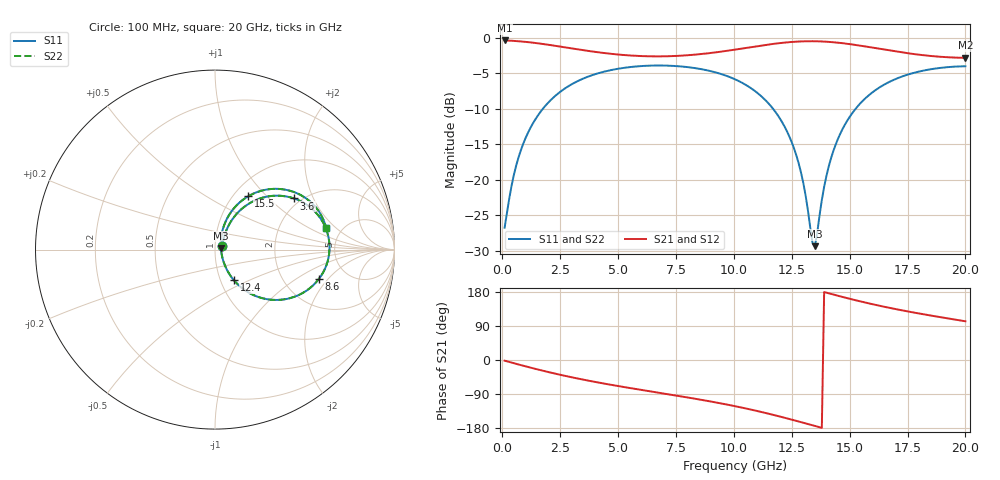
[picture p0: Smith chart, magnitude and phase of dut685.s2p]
! Touchstone file exported from HFSS 2026.1.0
!  File:  C:/ffzhzh/LocalFiles/Ansys_Project_Files/temp_train_TSV_RDL_685_1783134310_37876.aedt
!  Generated:  11:18:01 AM Jul  4, 2026
!  Design:  TSV_RDL
!  Project:  temp_train_TSV_RDL_685_1783134310_37876
! Variables:
!  h_bsmrdl = 2.05um
!  h_ox = 20um
!  h_rdl = 5um
!  h_sub = 96.05um
!  h_tmrdl = 2.45um
!  h_tsv = 96.05um
!  h_via = 3um
!  l_bsmrdl = 443.57um
!  l_sub = 4039.06um
!  l_tmrdl = 546.81um
!  m_sub = 200um
!  pitch = 53.27um
!  r_tsv = 3.2um
!  s_tmrdl = 10um
!  w_bsmrdl = 28.79um
!  w_sub = 500um
!  w_tmrdl = 11.58um
!  x_tsv_center1 = 552.6um
!  x_tsv_center2 = 1024.96um
!  x_tsv_center3 = 1583.35um
!  x_tsv_center4 = 2055.71um
!  x_tsv_center5 = 2614.1um
!  x_tsv_center6 = 3086.46um
# GHz S MA R 50.000000
! Terminal data exported
! Port[1] = TM_RDL1_1_T1
! Port[2] = TM_RDL5_1_T1
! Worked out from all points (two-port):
!   200 points, 100 MHz to 20 GHz, reference 50 ohm
!   highest |S21| = -0.37 dB at 100 MHz (marker M1); lowest = -2.8 dB at 20 GHz (marker M2)
!   |S21| within 3 dB of the highest: start of sweep to end of sweep
!   lowest |S11| = -29.4 dB at 13.5 GHz (marker M3), VSWR 1.07, Z = 53.4 + j0.975 ohm
!   |S11| at or under -10 dB: start of sweep to 1.754 GHz; 11.69 GHz to 15.26 GHz (3.567 GHz wide, 26.5 % of centre)
!   |S22| runs from -29.3 to -3.9 dB; largest |S21 - S12| = 1.6e-14
!   S11 on the Smith chart (normalised r, x): 100 MHz: 1.09, +0.04; 3.6 GHz: 1.84, +1.45; 8.6 GHz: 3.13, -1.60; 12.4 GHz: 1.16, -0.41; 15.5 GHz: 1.17, +0.79; 20 GHz: 3.77, +1.51
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0.1  0.04587 24.6  0.9587 -1.7  0.9587 -1.7  0.04587 24.6
! Gamma 0 0 0 0
! Port Impedance 50 0 50 0
0.6  0.1258 59.5  0.9494 -10.2  0.9494 -10.2  0.1258 59.5
1.2  0.2293 58.9  0.9297 -19.8  0.9297 -19.8  0.2293 58.9
2.2  0.3786 48.7  0.8835 -34.8  0.8835 -34.8  0.3786 48.7
3.5  0.5166 34.0  0.8185 -51.9  0.8185 -51.9  0.5166 34.0
3.6  0.5247 32.9  0.8139 -53.1  0.8139 -53.1  0.5247 32.9
5.2  0.6128 16.6  0.7579 -70.8  0.7579 -70.8  0.6127 16.6
6.8  0.6383 1.5  0.7404 -86.8  0.7404 -86.8  0.6383 1.5
8.6  0.6015 -15.8  0.7692 -105.1  0.7692 -105.1  0.6015 -15.8
10.1  0.506 -31.9  0.8285 -122.5  0.8285 -122.5  0.506 -31.9
11.4  0.3587 -47.5  0.8928 -140.2  0.8928 -140.2  0.3587 -47.4
12.4  0.2011 -58.4  0.9327 -155.7  0.9327 -155.7  0.2011 -58.3
13  0.09467 -56.9  0.9451 -165.6  0.9451 -165.6  0.09474 -56.7
13.4  0.03559 -14.6  0.9469 -172.3  0.9469 -172.3  0.03587 -14.4
13.5  0.03397 15.6  0.9465 -174.0  0.9465 -174.0  0.03428 15.5
13.9  0.08901 65.9  0.9414 179.3  0.9414 179.3  0.08916 65.7
14.3  0.1597 69.4  0.9313 172.7  0.9313 172.7  0.1598 69.3
14.8  0.2448 65.9  0.9126 164.7  0.9126 164.7  0.2449 65.9
15.5  0.3505 58.1  0.879 154.1  0.879 154.1  0.3506 58.0
16.7  0.4878 44.0  0.8162 137.9  0.8162 137.9  0.4878 43.9
18.4  0.5967 26.1  0.7481 118.4  0.7481 118.4  0.5968 26.1
20  0.6306 11.1  0.723 102.2  0.723 102.2  0.6306 11.1
